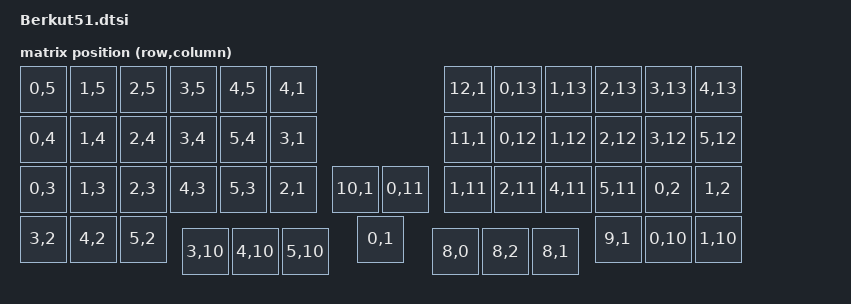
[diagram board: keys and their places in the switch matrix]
#include <dt-bindings/zmk/matrix_transform.h>
#include <physical_layouts.dtsi>
#include <behaviors/rgbled_widget.dtsi>
#include <behaviors/battery_history_request.dtsi>

/ {
	chosen {
		zmk,physical-layout = &layout_Berkut51;
      zmk,battery = &vbatt;
	};
   
	default_transform: keymap_transform_0 {
		compatible = "zmk,matrix-transform";
		columns = <12>;
		rows = <6>;
		
		map = <
		RC( 0, 5)  RC( 1, 5)  RC( 2, 5)  RC( 3, 5)  RC( 4, 5)  RC( 4, 1)                        RC( 12, 1)  RC( 0, 13)  RC( 1, 13)  RC( 2, 13)  RC( 3, 13)  RC( 4, 13)  
		RC( 0, 4)  RC( 1, 4)  RC( 2, 4)  RC( 3, 4)  RC( 5, 4)  RC( 3, 1)                        RC( 11, 1)  RC( 0, 12)  RC( 1, 12)  RC( 2, 12)  RC( 3, 12)  RC( 5, 12)  
		RC( 0, 3)  RC( 1, 3)  RC( 2, 3)  RC( 4, 3)  RC( 5, 3)  RC( 2, 1)                        RC( 10, 1)  RC( 0, 11)  RC( 1, 11)  RC( 2, 11)  RC( 4, 11)  RC( 5, 11)  
		RC( 0, 2)  RC( 1, 2)  RC( 3, 2)  RC( 4, 2)  RC( 5, 2)  RC( 0, 1)                        RC(  9, 1)  RC( 0, 10)  RC( 1, 10)  RC( 3, 10)  RC( 4, 10)  RC( 5, 10)  
                                                                        RC( 8, 0) RC( 8, 2) RC( 8, 1)
      >;
	};

	layout_Berkut51: layout_Berkut51 {
		compatible = "zmk,physical-layout";
		display-name = "Berkut51";
		transform = <&default_transform>;
		kscan = <&kscan0>;
		
      keys  //                     w   h    x    y     rot    rx    ry
         = <&key_physical_attrs 100 100    0    0       0     0     0>
         , <&key_physical_attrs 100 100  100    0       0     0     0>
         , <&key_physical_attrs 100 100  200    0       0     0     0>
         , <&key_physical_attrs 100 100  300    0       0     0     0>
         , <&key_physical_attrs 100 100  400    0       0     0     0>
         , <&key_physical_attrs 100 100  500    0       0     0     0>
         , <&key_physical_attrs 100 100  850    0       0     0     0>
         , <&key_physical_attrs 100 100  950    0       0     0     0>
         , <&key_physical_attrs 100 100 1050    0       0     0     0>
         , <&key_physical_attrs 100 100 1150    0       0     0     0>
         , <&key_physical_attrs 100 100 1250    0       0     0     0>
         , <&key_physical_attrs 100 100 1350    0       0     0     0>
         , <&key_physical_attrs 100 100    0  100       0     0     0>
         , <&key_physical_attrs 100 100  100  100       0     0     0>
         , <&key_physical_attrs 100 100  200  100       0     0     0>
         , <&key_physical_attrs 100 100  300  100       0     0     0>
         , <&key_physical_attrs 100 100  400  100       0     0     0>
         , <&key_physical_attrs 100 100  500  100       0     0     0>
         , <&key_physical_attrs 100 100  850  100       0     0     0>
         , <&key_physical_attrs 100 100  950  100       0     0     0>
         , <&key_physical_attrs 100 100 1050  100       0     0     0>
         , <&key_physical_attrs 100 100 1150  100       0     0     0>
         , <&key_physical_attrs 100 100 1250  100       0     0     0>
         , <&key_physical_attrs 100 100 1350  100       0     0     0>
         , <&key_physical_attrs 100 100    0  200       0     0     0>
         , <&key_physical_attrs 100 100  100  200       0     0     0>
         , <&key_physical_attrs 100 100  200  200       0     0     0>
         , <&key_physical_attrs 100 100  300  200       0     0     0>
         , <&key_physical_attrs 100 100  400  200       0     0     0>
         , <&key_physical_attrs 100 100  500  200       0     0     0>
         , <&key_physical_attrs 100 100  625  200       0     0     0>
         , <&key_physical_attrs 100 100  725  200       0     0     0>
         , <&key_physical_attrs 100 100  850  200       0     0     0>
         , <&key_physical_attrs 100 100  950  200       0     0     0>
         , <&key_physical_attrs 100 100 1050  200       0     0     0>
         , <&key_physical_attrs 100 100 1150  200       0     0     0>
         , <&key_physical_attrs 100 100 1250  200       0     0     0>
         , <&key_physical_attrs 100 100 1350  200       0     0     0>
         , <&key_physical_attrs 100 100    0  300       0     0     0>
         , <&key_physical_attrs 100 100  100  300       0     0     0>
         , <&key_physical_attrs 100 100  200  300       0     0     0>
         , <&key_physical_attrs 100 100  675  300       0     0     0>
         , <&key_physical_attrs 100 100 1150  300       0     0     0>
         , <&key_physical_attrs 100 100 1250  300       0     0     0>
         , <&key_physical_attrs 100 100 1350  300       0     0     0>
         , <&key_physical_attrs 100 100  325  325       0     0     0>
         , <&key_physical_attrs 100 100  425  325       0     0     0>
         , <&key_physical_attrs 100 100  525  325       0     0     0>
         , <&key_physical_attrs 100 100  825  325       0     0     0>
         , <&key_physical_attrs 100 100  925  325       0     0     0>
         , <&key_physical_attrs 100 100 1025  325       0     0     0>
         ;
	};

    position_map {
        compatible = "zmk,physical-layout-position-map";

        layout_Berkut51 {
            physical-layout = <&layout_Berkut51>;
            positions = <>;
        };
    };

   aliases {
      led-red = &led0;
      led-green = &led1;
      led-blue = &led2;
   };

   leds {
      compatible = "gpio-leds";
      status = "okay";
      led0: led_0 {
        gpios = <&gpio0 26 GPIO_ACTIVE_LOW>;  // red LED, connected to P0.26
      };
      led1: led_1 {
        gpios = <&gpio0 30 GPIO_ACTIVE_LOW>;  // green LED, connected to P0.30
      };
      led2: led_2 {
        gpios = <&gpio0 6 GPIO_ACTIVE_LOW>;  // blue LED, connected to P0.06
      };
   };

   vbatt: vbatt {
      io-channels = <&adc 0>;
      power-gpios; // unset
      output-ohms = <470000>;
      full-ohms = <(1000000 + 470000)>;
      // For Ni-Mh 1U
      mv-to-pct-thresholds = <1100 1150 1200 1220 1240 1260 1280 1300 1320 1350 1400>;
   };
};

&adc {
   status = "okay";
};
